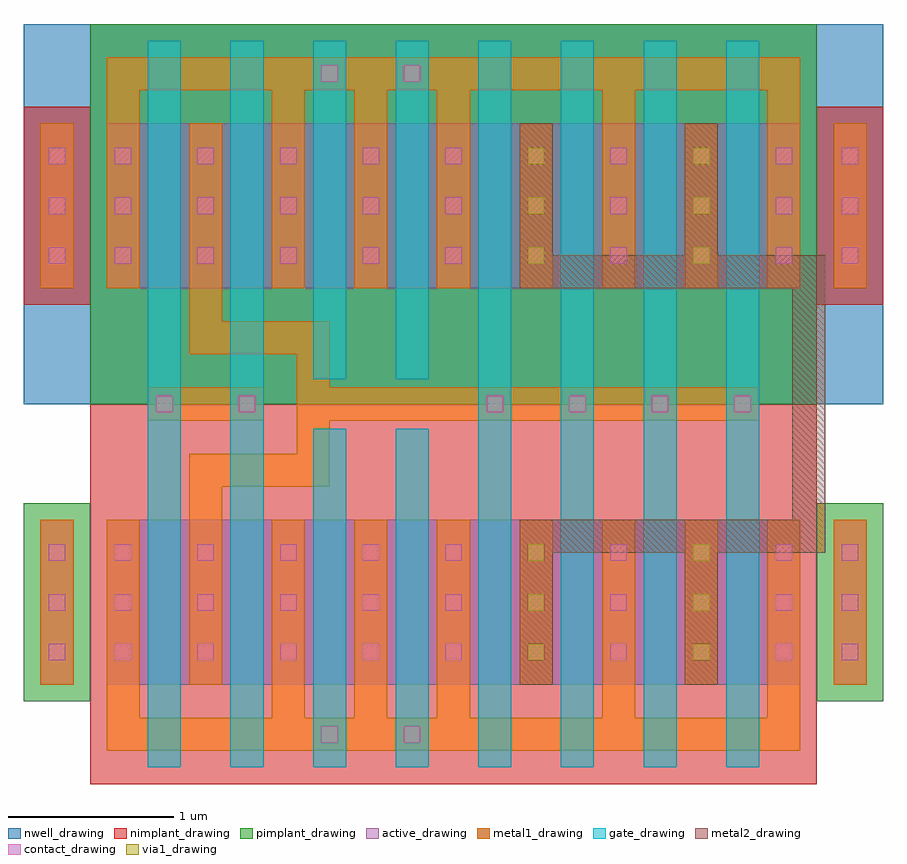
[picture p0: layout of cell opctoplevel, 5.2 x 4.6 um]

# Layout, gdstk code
import gdstk
lib = gdstk.Library(unit=1e-6, precision=1e-09)
def R(c, l, rs):  # rectangles x0, y0, x1, y1
    for r in rs: c.add(gdstk.rectangle(r[:2], r[2:], *l))
def A(c, l, x, y, w, h, nx, ny, dx, dy):  # array of equal rectangles
    R(c, l, [(x+i*dx, y+j*dy, x+i*dx+w, y+j*dy+h) for i in range(nx) for j in range(ny)])
active_drawing = (1, 0)
nwell_drawing = (3, 0)
pimplant_drawing = (4, 0)
nimplant_drawing = (5, 0)
gate_drawing = (6, 0)
contact_drawing = (7, 0)
metal1_drawing = (8, 0)
via1_drawing = (9, 0)
metal2_drawing = (10, 0)

opctoplevel = lib.new_cell('opctoplevel')
A(opctoplevel, active_drawing, -0.25, 0, 0.7, 1, 8, 2, 0.5, 2.4)
R(opctoplevel, active_drawing, [(-0.65,0,-0.45,1), (4.15,0,4.35,1), (-0.65,2.4,-0.45,3.4), (4.15,2.4,4.35,3.4)])
A(opctoplevel, nwell_drawing, -0.35, 1.7, 0.9, 2.3, 8, 1, 0.5, 0)
R(opctoplevel, nwell_drawing, [(-0.75,1.7,-0.35,4), (-0.75,1.7,4.45,4), (4.05,1.7,4.45,4), (-0.75,2.3,-0.35,3.5), (4.05,2.3,4.45,3.5)])
A(opctoplevel, pimplant_drawing, -0.35, 1.7, 0.9, 2.3, 8, 1, 0.5, 0)
R(opctoplevel, pimplant_drawing, [(-0.75,-0.1,-0.35,1.1), (4.05,-0.1,4.45,1.1), (-0.35,1.7,4.05,4)])
A(opctoplevel, nimplant_drawing, -0.35, -0.6, 0.9, 2.3, 8, 1, 0.5, 0)
R(opctoplevel, nimplant_drawing, [(-0.35,-0.6,4.05,1.7), (-0.75,2.3,-0.35,3.5), (4.05,2.3,4.45,3.5)])
A(opctoplevel, gate_drawing, 2, -0.5, 0.2, 2.3, 4, 1, 0.5, 0)
A(opctoplevel, gate_drawing, 2, 1.7, 0.2, 2.2, 4, 1, 0.5, 0)
R(opctoplevel, gate_drawing, [(0,-0.5,0.2,1.8), (0.5,-0.5,0.7,1.8), (1,-0.5,1.2,1.55), (1.5,-0.5,1.7,1.55), (0,1.7,0.2,3.9), (0.5,1.7,0.7,3.9), (1,1.85,1.2,3.9), (1.5,1.85,1.7,3.9)])
A(opctoplevel, contact_drawing, -0.6, 0.15, 0.1, 0.1, 1, 3, 0, 0.3)
A(opctoplevel, contact_drawing, -0.2, 0.15, 0.1, 0.1, 4, 3, 0.5, 0.3)
A(opctoplevel, contact_drawing, 1.3, 0.15, 0.1, 0.1, 6, 3, 0.5, 0.3)
A(opctoplevel, contact_drawing, 4.2, 0.15, 0.1, 0.1, 1, 3, 0, 0.3)
A(opctoplevel, contact_drawing, 2.05, 1.65, 0.1, 0.1, 4, 1, 0.5, 0)
A(opctoplevel, contact_drawing, -0.6, 2.55, 0.1, 0.1, 1, 3, 0, 0.3)
A(opctoplevel, contact_drawing, -0.2, 2.55, 0.1, 0.1, 4, 3, 0.5, 0.3)
A(opctoplevel, contact_drawing, 1.3, 2.55, 0.1, 0.1, 6, 3, 0.5, 0.3)
A(opctoplevel, contact_drawing, 4.2, 2.55, 0.1, 0.1, 1, 3, 0, 0.3)
R(opctoplevel, contact_drawing, [(1.05,-0.35,1.15,-0.25), (1.55,-0.35,1.65,-0.25), (0.05,1.65,0.15,1.75), (0.55,1.65,0.65,1.75), (1.05,3.65,1.15,3.75), (1.55,3.65,1.65,3.75)])
A(opctoplevel, metal1_drawing, 1.75, -0.2, 0.2, 0.2, 3, 2, 1, 3.6)
A(opctoplevel, metal1_drawing, -0.25, 0, 0.2, 1, 4, 2, 0.5, 2.4)
A(opctoplevel, metal1_drawing, 1.25, 0, 0.2, 1, 6, 2, 0.5, 2.4)
A(opctoplevel, metal1_drawing, 2, 1.6, 0.2, 0.2, 4, 1, 0.5, 0)
R(opctoplevel, metal1_drawing, [(-0.25,-0.4,1.45,-0.2), (-0.25,-0.4,3.95,-0.2), (1,-0.4,1.2,-0.2), (1.25,-0.4,3.95,-0.2), (1.5,-0.4,1.7,-0.2), (-0.25,-0.2,-0.05,0), (0.75,-0.2,0.95,0), (1.25,-0.2,1.45,0), (1.25,-0.2,1.45,0), (-0.65,0,-0.45,1), (4.15,0,4.35,1), (0.25,1,0.45,1.4), (0,1.6,0.2,1.8), (0,1.6,0.7,1.8), (0.5,1.6,0.7,1.8), (1.1,1.6,2,1.8), (2,1.6,3.7,1.8), (0.25,2,0.45,2.4), (-0.65,2.4,-0.45,3.4), (4.15,2.4,4.35,3.4), (-0.25,3.4,-0.05,3.6), (0.75,3.4,0.95,3.6), (1.25,3.4,1.45,3.6), (1.25,3.4,1.45,3.6), (-0.25,3.6,1.45,3.8), (-0.25,3.6,3.95,3.8), (1,3.6,1.2,3.8), (1.25,3.6,3.95,3.8), (1.5,3.6,1.7,3.8)])
A(opctoplevel, via1_drawing, 2.3, 0.15, 0.1, 0.1, 1, 3, 0, 0.3)
A(opctoplevel, via1_drawing, 3.3, 0.15, 0.1, 0.1, 1, 3, 0, 0.3)
A(opctoplevel, via1_drawing, 2.3, 2.55, 0.1, 0.1, 1, 3, 0, 0.3)
A(opctoplevel, via1_drawing, 3.3, 2.55, 0.1, 0.1, 1, 3, 0, 0.3)
R(opctoplevel, metal2_drawing, [(2.25,0,2.45,1), (3.25,0,3.45,1), (2.25,2.4,2.45,3.4), (3.25,2.4,3.45,3.4)])
opctoplevel.add(gdstk.FlexPath([(0.45,2.1),(1,2.1),(1,1.3),(0.45,1.3)], 0.2, ends="flush", simple_path=True, layer=8, datatype=0))  # metal1_drawing
opctoplevel.add(gdstk.FlexPath([(2.45,2.5),(4,2.5),(4,0.9),(2.45,0.9)], 0.2, ends="flush", simple_path=True, layer=10, datatype=0))  # metal2_drawing

lib.write_gds('opctoplevel.gds')
